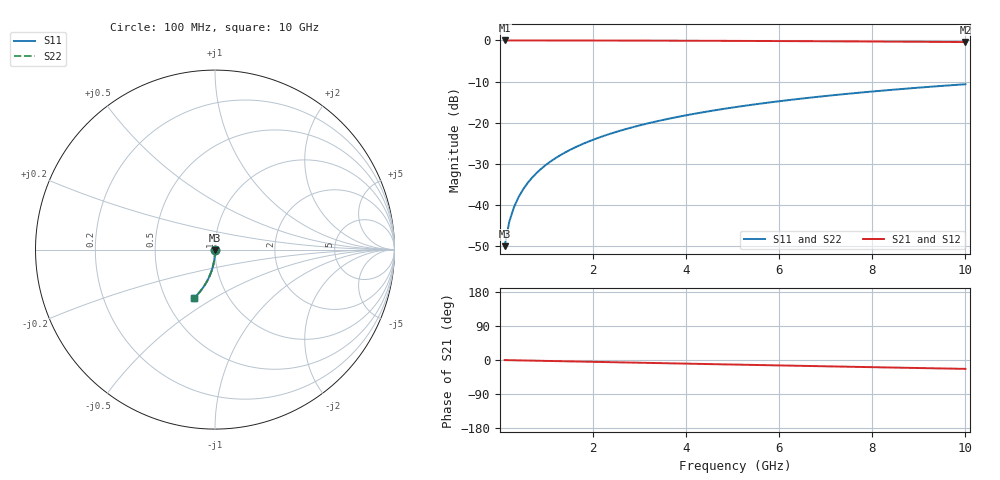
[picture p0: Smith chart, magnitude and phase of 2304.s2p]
# Hz S RI R 50.00
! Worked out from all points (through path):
!   100 points, 100 MHz to 10 GHz, reference 50 ohm
!   highest |S21| = 0.00 dB at 100 MHz (marker M1); lowest = -0.4 dB at 10 GHz (marker M2)
!   group delay of S21, straight-line fit = 6.52 ps
!   lowest |S11| = -50.1 dB at 100 MHz (marker M3), VSWR 1.01, Z = 50 - j0.31 ohm
!   |S11| at or under -10 dB: start of sweep to end of sweep
!   |S22| runs from -50.1 to -10.7 dB; largest |S21 - S12| = 0
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1e8  0.000462 -0.0031  0.9995 -0.0042  0.9995 -0.0042  0.000462 -0.0031
2e8  0.000423 -0.00619  0.9995 -0.00839  0.9995 -0.00839  0.000423 -0.00619
3e8  0.000357 -0.00929  0.9994 -0.0126  0.9994 -0.0126  0.000357 -0.00929
4e8  0.000264 -0.0124  0.9993 -0.0168  0.9993 -0.0168  0.000264 -0.0124
5e8  0.000146 -0.0155  0.9992 -0.021  0.9992 -0.021  0.000146 -0.0155
6e8  6.71e-07 -0.0186  0.999 -0.0252  0.999 -0.0252  6.71e-07 -0.0186
7e8  -0.00017 -0.0217  0.9988 -0.0294  0.9988 -0.0294  -0.00017 -0.0217
8e8  -0.000367 -0.0247  0.9986 -0.0336  0.9986 -0.0336  -0.000367 -0.0247
9e8  -0.00059 -0.0278  0.9984 -0.0377  0.9984 -0.0377  -0.00059 -0.0278
1.1e9  -0.00111 -0.034  0.9978 -0.0461  0.9978 -0.0461  -0.00111 -0.034
1.4e9  -0.00209 -0.0432  0.9968 -0.0586  0.9968 -0.0586  -0.00209 -0.0432
1.8e9  -0.00376 -0.0555  0.995 -0.0753  0.995 -0.0753  -0.00376 -0.0555
2.1e9  -0.00527 -0.0646  0.9934 -0.0877  0.9934 -0.0877  -0.00527 -0.0646
2.5e9  -0.00765 -0.0767  0.991 -0.1043  0.991 -0.1043  -0.00765 -0.0767
2.9e9  -0.0104 -0.0887  0.988 -0.1207  0.988 -0.1207  -0.0104 -0.0887
3.4e9  -0.0144 -0.1035  0.9838 -0.141  0.9838 -0.141  -0.0144 -0.1035
4.2e9  -0.0221 -0.1268  0.9758 -0.1731  0.9758 -0.1731  -0.0221 -0.1268
5.1e9  -0.0325 -0.1521  0.9649 -0.2084  0.9649 -0.2084  -0.0325 -0.1521
5.9e9  -0.0432 -0.1738  0.9536 -0.2389  0.9536 -0.2389  -0.0432 -0.1738
6.7e9  -0.0552 -0.1945  0.941 -0.2686  0.941 -0.2686  -0.0552 -0.1945
8.4e9  -0.0846 -0.2352  0.91 -0.3282  0.91 -0.3282  -0.0846 -0.2352
1e10  -0.1162 -0.2689  0.8764 -0.3798  0.8764 -0.3798  -0.1162 -0.2689
